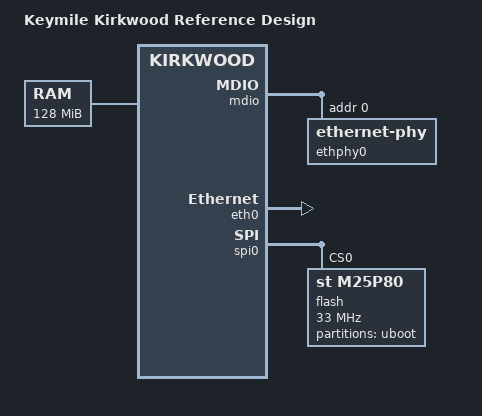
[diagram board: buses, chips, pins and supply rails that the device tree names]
// SPDX-License-Identifier: GPL-2.0
/dts-v1/;

#include "kirkwood.dtsi"
#include "kirkwood-98dx4122.dtsi"
#include "kirkwood-km_common.dtsi"

/ {
	model = "Keymile Kirkwood Reference Design";
	compatible = "keymile,km_kirkwood", "marvell,kirkwood-98DX4122", "marvell,kirkwood";

	memory {
		device_type = "memory";
		reg = <0x00000000 0x08000000>;
	};

	aliases {
		spi0 = &spi0;
	};
};

&mdio {
	status = "okay";

	ethphy0: ethernet-phy@0 {
		reg = <0>;
	};
};

&eth0 {
	status = "okay";
	ethernet0-port@0 {
		phy-handle = <&ethphy0>;
	};
};

&spi0 {
	status = "okay";

	flash@0 {
		#address-cells = <1>;
		#size-cells = <1>;
		compatible = "st,m25p80", "jedec,spi-nor", "spi-flash";
		reg = <0>;
		spi-max-frequency = <33000000>;
		mode = <3>;

		partition@uboot {
			reg = <0x000000 0x0c0000>;
			label = "uboot";
		};
	};
};
